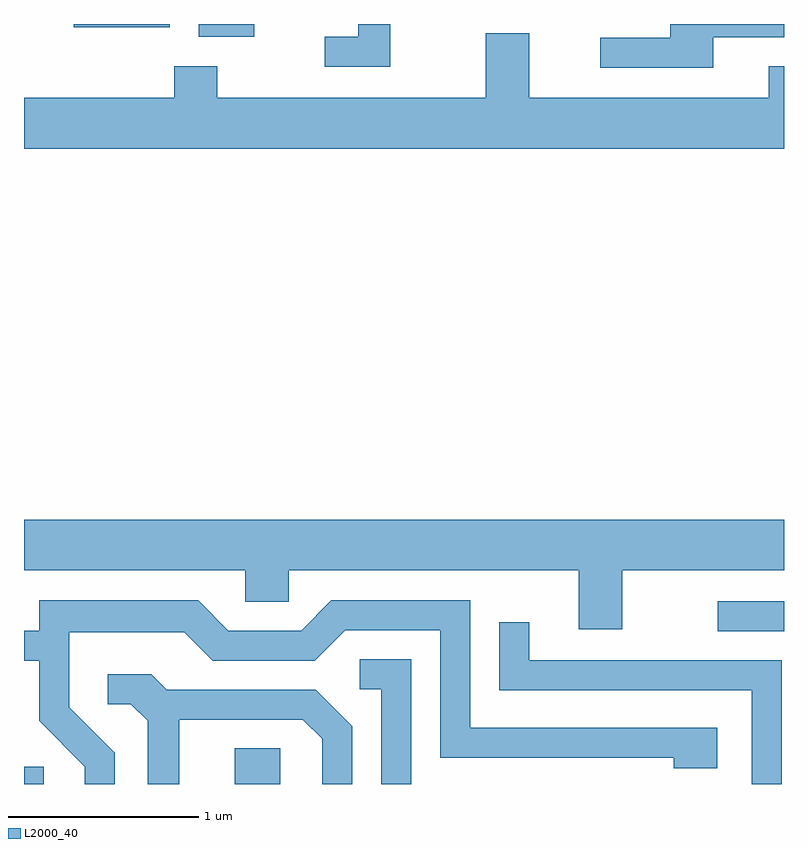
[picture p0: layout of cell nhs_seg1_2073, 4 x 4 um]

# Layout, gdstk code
import gdstk
lib = gdstk.Library(unit=1e-6, precision=1e-09)
def R(c, l, rs):  # rectangles x0, y0, x1, y1
    for r in rs: c.add(gdstk.rectangle(r[:2], r[2:], *l))
def P(c, l, *ps):  # polygons
    for p in ps: c.add(gdstk.Polygon(p, *l))
L2000_40 = (2000, 40)

nhs_seg1_2073 = lib.new_cell('nhs_seg1_2073')
R(nhs_seg1_2073, L2000_40, [(247.611,971.712,247.714,971.804), (248.721,971.712,248.959,971.899), (251.263,972.516,251.611,972.674), (248.531,975.646,248.824,975.712), (247.873,975.696,248.379,975.712)])
P(nhs_seg1_2073, L2000_40, [(249.539,975.712),(249.371,975.712),(249.371,975.644),(249.193,975.644),(249.193,975.486),(249.539,975.486)],
  [(251.239,975.641),(251.611,975.641),(251.611,975.712),(251.011,975.712),(251.011,975.639),(250.643,975.639),(250.643,975.481),(251.239,975.481)],
  [(251.611,975.489),(251.531,975.489),(251.531,975.324),(250.269,975.324),(250.269,975.664),(250.041,975.664),(250.041,975.324),(248.629,975.324),(248.629,975.489),(248.401,975.489),(248.401,975.324),(247.611,975.324),(247.611,975.056),(251.611,975.056)],
  [(250.759,972.836),(251.611,972.836),(251.611,973.104),(247.611,973.104),(247.611,972.836),(248.776,972.836),(248.776,972.671),(249.004,972.671),(249.004,972.836),(250.531,972.836),(250.531,972.526),(250.759,972.526)],
  [(248.089,971.877),(247.849,972.117),(247.849,972.511),(248.454,972.511),(248.604,972.361),(249.142,972.361),(249.302,972.521),(249.801,972.521),(249.801,971.851),(251.031,971.851),(251.031,971.796),(251.259,971.796),(251.259,972.009),(249.959,972.009),(249.959,972.679),(249.229,972.679),(249.069,972.519),(248.687,972.519),(248.527,972.679),(247.691,972.679),(247.691,972.519),(247.611,972.519),(247.611,972.361),(247.691,972.361),(247.691,972.044),(247.931,971.804),(247.931,971.712),(248.089,971.712)],
  [(251.599,972.364),(250.269,972.364),(250.269,972.563),(250.111,972.563),(250.111,972.206),(251.441,972.206),(251.441,971.712),(251.599,971.712)],
  [(249.649,972.369),(249.378,972.369),(249.378,972.211),(249.491,972.211),(249.491,971.712),(249.649,971.712)],
  [(248.429,972.051),(249.079,972.051),(249.181,971.949),(249.181,971.712),(249.339,971.712),(249.339,972.017),(249.147,972.209),(248.362,972.209),(248.282,972.289),(248.053,972.289),(248.053,972.131),(248.174,972.131),(248.261,972.044),(248.261,971.712),(248.429,971.712)])

lib.write_gds('nhs_seg1_2073.gds')
